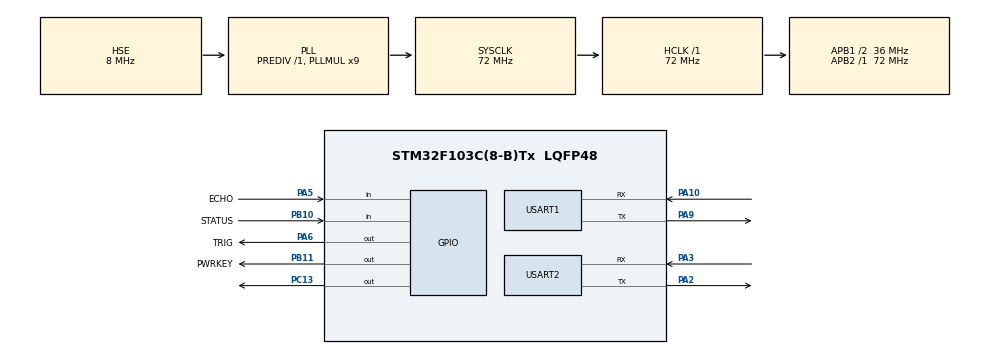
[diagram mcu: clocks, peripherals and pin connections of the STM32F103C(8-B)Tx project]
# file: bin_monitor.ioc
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Mcu.Family=STM32F1
Mcu.Name=STM32F103C(8-B)Tx
Mcu.Package=LQFP48
NVIC.PriorityGroup=NVIC_PRIORITYGROUP_4
NVIC.USART2_IRQn=true\:0\:0\:false\:false\:true\:true\:true\:true
PA10.Mode=Asynchronous
PA10.Signal=USART1_RX
PA13.Mode=Serial_Wire
PA13.Signal=SYS_JTMS-SWDIO
PA14.Mode=Serial_Wire
PA14.Signal=SYS_JTCK-SWCLK
PA2.Mode=Asynchronous
PA2.Signal=USART2_TX
PA3.Mode=Asynchronous
PA3.Signal=USART2_RX
PA5.GPIO_Label=ECHO
PA5.Signal=GPIO_Input
PA6.GPIO_Label=TRIG
PA6.Signal=GPIO_Output
PA9.Mode=Asynchronous
PA9.Signal=USART1_TX
PB10.GPIO_Label=STATUS
PB10.Signal=GPIO_Input
PB11.GPIO_Label=PWRKEY
PB11.Signal=GPIO_Output
PC13-TAMPER-RTC.Signal=GPIO_Output
PD0-OSC_IN.Mode=HSE-External-Oscillator
PD0-OSC_IN.Signal=RCC_OSC_IN
PD1-OSC_OUT.Mode=HSE-External-Oscillator
PD1-OSC_OUT.Signal=RCC_OSC_OUT
ProjectManager.HeapSize=0x200
ProjectManager.StackSize=0x400
ProjectManager.TargetToolchain=STM32CubeIDE
RCC.AHBFreq_Value=72000000
RCC.APB1CLKDivider=RCC_HCLK_DIV2
RCC.APB1Freq_Value=36000000
RCC.APB1TimFreq_Value=72000000
RCC.APB2Freq_Value=72000000
RCC.APB2TimFreq_Value=72000000
RCC.HCLKFreq_Value=72000000
RCC.PLLMUL=RCC_PLL_MUL9
RCC.PLLSourceVirtual=RCC_PLLSOURCE_HSE
RCC.SYSCLKFreq_VALUE=72000000
RCC.SYSCLKSource=RCC_SYSCLKSOURCE_PLLCLK
RCC.USBFreq_Value=72000000
TIM1.Prescaler=71
USART1.VirtualMode=VM_ASYNC
USART2.VirtualMode=VM_ASYNC
VP_TIM1_VS_ClockSourceINT.Mode=Internal
board=custom

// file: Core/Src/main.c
/* USER CODE BEGIN Header */
/**
  ******************************************************************************
  * @file           : main.c
  * @brief          : Main program body
  ******************************************************************************
  * @attention
  *
  * Copyright (c) 2023 STMicroelectronics.
  * All rights reserved.
  *
  * This software is licensed under terms that can be found in the LICENSE file
  * in the root directory of this software component.
  * If no LICENSE file comes with this software, it is provided AS-IS.
  *
  ******************************************************************************
  */
/* USER CODE END Header */
#include "main.h"

/* USER CODE BEGIN Includes */

#include <stdio.h>
#include <stdint.h>
#include <stdbool.h>
#include <string.h>

#include "ring_buffer.h"
#include "at_common.h"
#include "gsm.h"
#include "gsm_task.h"
#include "gsm_power.h"

/* USER CODE END Includes */

/* USER CODE BEGIN PD */

#define DEBUG_P

/* USER CODE END PD */

TIM_HandleTypeDef htim1;

UART_HandleTypeDef huart1;
UART_HandleTypeDef huart2;

void SystemClock_Config(void);
static void MX_GPIO_Init(void);
static void MX_USART1_UART_Init(void);
static void MX_USART2_UART_Init(void);
static void MX_TIM1_Init(void);

/* USER CODE BEGIN 0 */

#define BUF_SIZE 1000U

volatile uint8_t rx_data_debug = 0;
volatile uint8_t rx_data_modem = 0;

ring_buf_t ring_buf_debug;
ring_buf_t ring_buf_modem;
char response_buffer[100];
char out_buffer[100];

int get_distance(void)
{
	uint16_t timer_val = 0;
	uint16_t echo_high = 0;
	uint16_t echo_low = 0;
	uint16_t distance = 0;

	HAL_GPIO_WritePin(GPIOA, TRIG_Pin, RESET);
	HAL_Delay(1);
	HAL_TIM_Base_Start(&htim1);

	HAL_GPIO_WritePin(GPIOA, TRIG_Pin, SET);
	timer_val = __HAL_TIM_GET_COUNTER(&htim1);
	while((__HAL_TIM_GET_COUNTER(&htim1) - timer_val) < 10);
	HAL_GPIO_WritePin(GPIOA, TRIG_Pin, RESET);

	while(!HAL_GPIO_ReadPin(GPIOA, ECHO_Pin));
	echo_high = __HAL_TIM_GET_COUNTER(&htim1);

	while(HAL_GPIO_ReadPin(GPIOA, ECHO_Pin));
	echo_low = __HAL_TIM_GET_COUNTER(&htim1);

	distance = (echo_low - echo_high)*(0.034) / 2;

	return distance;
}

typedef struct
{
	uint8_t trash_level;
} sensor_data_t;

void gsm_tx_data(sensor_data_t sensor_data)
{
	char tx_command_buf[200];
	memset(tx_command_buf, 0, sizeof(tx_command_buf));
	char str_temp[10];

	strcat(tx_command_buf, "field1=");
	sprintf(str_temp, "%d", sensor_data.trash_level);
	strcat(tx_command_buf, str_temp);
	strcat(tx_command_buf, "&status=MQTTPUBLISH\x1A\r\n");
	printf("%s\n", tx_command_buf);

  sim_info_t sim_info;

  	  gsm_restart();
	HAL_Delay(5000);
	gsm_check_modem();
	gsm_check_sim(&sim_info);
	gsm_check_network();
	gsm_connect_gprs();
	gsm_setup_tls();
	gsm_mqtt_setup();

	char command[] = "AT+QMTPUB=0,1,1,0,\"channels/2341795/publish\"\r\n";

	send_command(command);
	HAL_Delay(500);

	send_data_check_result_and_response(tx_command_buf, out_buffer, RESP_TYPE_HEADER,"+QMTPUB");
}

/* USER CODE END 0 */

int main(void)
{

  /* MCU Configuration--------------------------------------------------------*/

  /* Reset of all peripherals, Initializes the Flash interface and the Systick. */
  HAL_Init();

  /* Configure the system clock */
  SystemClock_Config();

  /* Initialize all configured peripherals */
  MX_GPIO_Init();
  MX_USART1_UART_Init();
  MX_USART2_UART_Init();
  MX_TIM1_Init();

  /* Infinite loop */
  /* USER CODE BEGIN WHILE */

  ring_buf_init(&ring_buf_debug);
  ring_buf_init(&ring_buf_modem);

  HAL_UART_Receive_IT(&huart1, &rx_data_debug, 1);
  HAL_UART_Receive_IT(&huart2, &rx_data_modem, 1);

  uint16_t distance = 0;
  uint16_t bin_height = 122;	// 4ft
  sensor_data_t sensor_data;

  distance = get_distance();
  sensor_data.trash_level = ((float)distance / bin_height) * 100;

  gsm_tx_data(sensor_data);

  while (1)
  {

    /* USER CODE END WHILE */

  }
}

void SystemClock_Config(void)
{
  RCC_OscInitTypeDef RCC_OscInitStruct = {0};
  RCC_ClkInitTypeDef RCC_ClkInitStruct = {0};

  /** Initializes the RCC Oscillators according to the specified parameters
  * in the RCC_OscInitTypeDef structure.
  */
  RCC_OscInitStruct.OscillatorType = RCC_OSCILLATORTYPE_HSE;
  RCC_OscInitStruct.HSEState = RCC_HSE_ON;
  RCC_OscInitStruct.HSEPredivValue = RCC_HSE_PREDIV_DIV1;
  RCC_OscInitStruct.HSIState = RCC_HSI_ON;
  RCC_OscInitStruct.PLL.PLLState = RCC_PLL_ON;
  RCC_OscInitStruct.PLL.PLLSource = RCC_PLLSOURCE_HSE;
  RCC_OscInitStruct.PLL.PLLMUL = RCC_PLL_MUL9;
  if (HAL_RCC_OscConfig(&RCC_OscInitStruct) != HAL_OK)
  {
    Error_Handler();
  }

  /** Initializes the CPU, AHB and APB buses clocks
  */
  RCC_ClkInitStruct.ClockType = RCC_CLOCKTYPE_HCLK|RCC_CLOCKTYPE_SYSCLK
                              |RCC_CLOCKTYPE_PCLK1|RCC_CLOCKTYPE_PCLK2;
  RCC_ClkInitStruct.SYSCLKSource = RCC_SYSCLKSOURCE_PLLCLK;
  RCC_ClkInitStruct.AHBCLKDivider = RCC_SYSCLK_DIV1;
  RCC_ClkInitStruct.APB1CLKDivider = RCC_HCLK_DIV2;
  RCC_ClkInitStruct.APB2CLKDivider = RCC_HCLK_DIV1;

  if (HAL_RCC_ClockConfig(&RCC_ClkInitStruct, FLASH_LATENCY_2) != HAL_OK)
  {
    Error_Handler();
  }
}

static void MX_TIM1_Init(void)
{

  TIM_ClockConfigTypeDef sClockSourceConfig = {0};
  TIM_MasterConfigTypeDef sMasterConfig = {0};

  htim1.Instance = TIM1;
  htim1.Init.Prescaler = 71;
  htim1.Init.CounterMode = TIM_COUNTERMODE_UP;
  htim1.Init.Period = 65535;
  htim1.Init.ClockDivision = TIM_CLOCKDIVISION_DIV1;
  htim1.Init.RepetitionCounter = 0;
  htim1.Init.AutoReloadPreload = TIM_AUTORELOAD_PRELOAD_DISABLE;
  if (HAL_TIM_Base_Init(&htim1) != HAL_OK)
  {
    Error_Handler();
  }
  sClockSourceConfig.ClockSource = TIM_CLOCKSOURCE_INTERNAL;
  if (HAL_TIM_ConfigClockSource(&htim1, &sClockSourceConfig) != HAL_OK)
  {
    Error_Handler();
  }
  sMasterConfig.MasterOutputTrigger = TIM_TRGO_RESET;
  sMasterConfig.MasterSlaveMode = TIM_MASTERSLAVEMODE_DISABLE;
  if (HAL_TIMEx_MasterConfigSynchronization(&htim1, &sMasterConfig) != HAL_OK)
  {
    Error_Handler();
  }

}

static void MX_USART1_UART_Init(void)
{

  huart1.Instance = USART1;
  huart1.Init.BaudRate = 115200;
  huart1.Init.WordLength = UART_WORDLENGTH_8B;
  huart1.Init.StopBits = UART_STOPBITS_1;
  huart1.Init.Parity = UART_PARITY_NONE;
  huart1.Init.Mode = UART_MODE_TX_RX;
  huart1.Init.HwFlowCtl = UART_HWCONTROL_NONE;
  huart1.Init.OverSampling = UART_OVERSAMPLING_16;
  if (HAL_UART_Init(&huart1) != HAL_OK)
  {
    Error_Handler();
  }

}

static void MX_USART2_UART_Init(void)
{

  huart2.Instance = USART2;
  huart2.Init.BaudRate = 115200;
  huart2.Init.WordLength = UART_WORDLENGTH_8B;
  huart2.Init.StopBits = UART_STOPBITS_1;
  huart2.Init.Parity = UART_PARITY_NONE;
  huart2.Init.Mode = UART_MODE_TX_RX;
  huart2.Init.HwFlowCtl = UART_HWCONTROL_NONE;
  huart2.Init.OverSampling = UART_OVERSAMPLING_16;
  if (HAL_UART_Init(&huart2) != HAL_OK)
  {
    Error_Handler();
  }

}

static void MX_GPIO_Init(void)
{
  GPIO_InitTypeDef GPIO_InitStruct = {0};

  /* GPIO Ports Clock Enable */
  __HAL_RCC_GPIOC_CLK_ENABLE();
  __HAL_RCC_GPIOD_CLK_ENABLE();
  __HAL_RCC_GPIOA_CLK_ENABLE();
  __HAL_RCC_GPIOB_CLK_ENABLE();

  /*Configure GPIO pin Output Level */
  HAL_GPIO_WritePin(GPIOC, GPIO_PIN_13, GPIO_PIN_RESET);

  /*Configure GPIO pin Output Level */
  HAL_GPIO_WritePin(TRIG_GPIO_Port, TRIG_Pin, GPIO_PIN_RESET);

  /*Configure GPIO pin Output Level */
  HAL_GPIO_WritePin(PWRKEY_GPIO_Port, PWRKEY_Pin, GPIO_PIN_RESET);

  /*Configure GPIO pin : PC13 */
  GPIO_InitStruct.Pin = GPIO_PIN_13;
  GPIO_InitStruct.Mode = GPIO_MODE_OUTPUT_PP;
  GPIO_InitStruct.Pull = GPIO_NOPULL;
  GPIO_InitStruct.Speed = GPIO_SPEED_FREQ_LOW;
  HAL_GPIO_Init(GPIOC, &GPIO_InitStruct);

  /*Configure GPIO pin : ECHO_Pin */
  GPIO_InitStruct.Pin = ECHO_Pin;
  GPIO_InitStruct.Mode = GPIO_MODE_INPUT;
  GPIO_InitStruct.Pull = GPIO_NOPULL;
  HAL_GPIO_Init(ECHO_GPIO_Port, &GPIO_InitStruct);

  /*Configure GPIO pin : TRIG_Pin */
  GPIO_InitStruct.Pin = TRIG_Pin;
  GPIO_InitStruct.Mode = GPIO_MODE_OUTPUT_PP;
  GPIO_InitStruct.Pull = GPIO_NOPULL;
  GPIO_InitStruct.Speed = GPIO_SPEED_FREQ_LOW;
  HAL_GPIO_Init(TRIG_GPIO_Port, &GPIO_InitStruct);

  /*Configure GPIO pin : STATUS_Pin */
  GPIO_InitStruct.Pin = STATUS_Pin;
  GPIO_InitStruct.Mode = GPIO_MODE_INPUT;
  GPIO_InitStruct.Pull = GPIO_NOPULL;
  HAL_GPIO_Init(STATUS_GPIO_Port, &GPIO_InitStruct);

  /*Configure GPIO pin : PWRKEY_Pin */
  GPIO_InitStruct.Pin = PWRKEY_Pin;
  GPIO_InitStruct.Mode = GPIO_MODE_OUTPUT_PP;
  GPIO_InitStruct.Pull = GPIO_NOPULL;
  GPIO_InitStruct.Speed = GPIO_SPEED_FREQ_LOW;
  HAL_GPIO_Init(PWRKEY_GPIO_Port, &GPIO_InitStruct);

}

void Error_Handler(void)
{
  __disable_irq();
  while (1)
  {
  }
}
